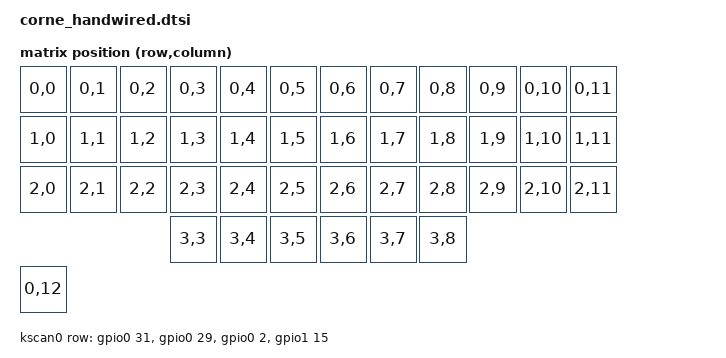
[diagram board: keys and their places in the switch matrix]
/*
 * Corne Handwired - Pin Configuration for SuperMini NRF52840
 *
 * Rows: P0.31, P0.29, P0.02, P1.15 (left side of MCU)
 * Cols: P0.17, P0.20, P0.22, P0.24, P1.00, P0.11 (right side of MCU)
 * Encoder (left only): A=P1.07, B=P1.02, SW=P1.01
 */

#include <dt-bindings/zmk/matrix_transform.h>

/ {
    chosen {
        zmk,kscan = &kscan0;
        zmk,matrix-transform = &default_transform;
    };

    default_transform: keymap_transform_0 {
        compatible = "zmk,matrix-transform";
        columns = <13>;
        rows = <4>;

        // Left half: columns 0-5, Right half: columns 6-11
        // Column 12 row 0: encoder button (left half only)
        map = <
            RC(0,0) RC(0,1) RC(0,2) RC(0,3) RC(0,4) RC(0,5)    RC(0,6) RC(0,7) RC(0,8) RC(0,9) RC(0,10) RC(0,11)
            RC(1,0) RC(1,1) RC(1,2) RC(1,3) RC(1,4) RC(1,5)    RC(1,6) RC(1,7) RC(1,8) RC(1,9) RC(1,10) RC(1,11)
            RC(2,0) RC(2,1) RC(2,2) RC(2,3) RC(2,4) RC(2,5)    RC(2,6) RC(2,7) RC(2,8) RC(2,9) RC(2,10) RC(2,11)
                                    RC(3,3) RC(3,4) RC(3,5)    RC(3,6) RC(3,7) RC(3,8)
            RC(0,12)
        >;
    };

    kscan0: kscan {
        compatible = "zmk,kscan-gpio-matrix";
        wakeup-source;

        diode-direction = "col2row";

        row-gpios
            = <&gpio0 31 (GPIO_ACTIVE_HIGH | GPIO_PULL_DOWN)>
            , <&gpio0 29 (GPIO_ACTIVE_HIGH | GPIO_PULL_DOWN)>
            , <&gpio0 2  (GPIO_ACTIVE_HIGH | GPIO_PULL_DOWN)>
            , <&gpio1 15 (GPIO_ACTIVE_HIGH | GPIO_PULL_DOWN)>
            ;
    };
};
